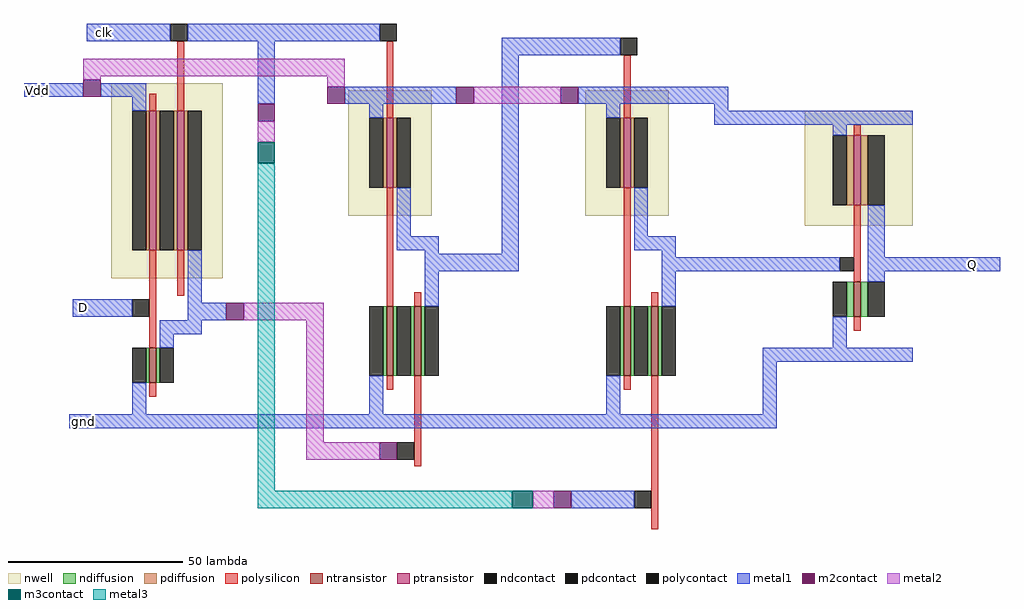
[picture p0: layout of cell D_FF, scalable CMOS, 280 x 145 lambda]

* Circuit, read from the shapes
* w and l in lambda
.subckt D_FF D Q Vdd clk gnd
M1 n1 D gnd VSUBS nfet w=10 l=2
M2 n2 clk gnd VSUBS nfet w=20 l=2
M3 n3 n1 n2 VSUBS nfet w=20 l=2
M4 n4 n3 gnd VSUBS nfet w=20 l=2
M5 n5 clk n4 VSUBS nfet w=20 l=2
M6 Q n5 gnd VSUBS nfet w=10 l=2
M7 n6 D Vdd n7 pfet w=40 l=2
M8 n1 clk n6 n7 pfet w=40 l=2
M9 n3 clk Vdd n8 pfet w=20 l=2
M10 n5 n3 Vdd n9 pfet w=20 l=2
M11 Q n5 Vdd n10 pfet w=20 l=2
.ends

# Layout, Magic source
magic
tech scmos
<< nwell >>
rect -7 -40 25 16
rect 61 -22 85 14
rect 129 -22 153 14
<< ntransistor >>
rect 4 -70 6 -60
rect 72 -68 74 -48
rect 80 -68 82 -48
rect 140 -68 142 -48
rect 148 -68 150 -48
<< ptransistor >>
rect 4 -32 6 8
rect 12 -32 14 8
rect 72 -14 74 6
rect 140 -14 142 6
<< ndiffusion >>
rect 3 -70 4 -60
rect 6 -70 7 -60
rect 71 -68 72 -48
rect 74 -68 75 -48
rect 79 -68 80 -48
rect 82 -68 83 -48
rect 139 -68 140 -48
rect 142 -68 143 -48
rect 147 -68 148 -48
rect 150 -68 151 -48
<< pdiffusion >>
rect 3 -32 4 8
rect 6 -32 7 8
rect 11 -32 12 8
rect 14 -32 15 8
rect 71 -14 72 6
rect 74 -14 75 6
rect 139 -14 140 6
rect 142 -14 143 6
<< ndcontact >>
rect -1 -70 3 -60
rect 7 -70 11 -60
rect 67 -68 71 -48
rect 75 -68 79 -48
rect 83 -68 87 -48
rect 135 -68 139 -48
rect 143 -68 147 -48
rect 151 -68 155 -48
<< pdcontact >>
rect -1 -32 3 8
rect 7 -32 11 8
rect 15 -32 19 8
rect 67 -14 71 6
rect 75 -14 79 6
rect 135 -14 139 6
rect 143 -14 147 6
<< polysilicon >>
rect 4 8 6 13
rect 12 8 14 28
rect 72 6 74 28
rect 140 6 142 24
rect 4 -60 6 -32
rect 12 -45 14 -32
rect 72 -48 74 -14
rect 80 -48 82 -44
rect 140 -48 142 -14
rect 148 -48 150 -44
rect 4 -74 6 -70
rect 72 -72 74 -68
rect 80 -94 82 -68
rect 140 -72 142 -68
rect 148 -112 150 -68
<< polycontact >>
rect 10 28 15 33
rect 70 28 75 33
rect 139 24 144 29
rect -1 -51 4 -46
rect 75 -92 80 -87
rect 143 -106 148 -101
<< metal1 >>
rect -14 28 10 33
rect 15 28 70 33
rect -32 12 -15 16
rect -10 12 3 16
rect -1 8 3 12
rect 35 10 40 28
rect 105 24 139 29
rect 60 10 92 15
rect 67 6 71 10
rect 75 -28 79 -14
rect 75 -32 87 -28
rect -18 -51 -1 -46
rect 15 -47 19 -32
rect 83 -33 87 -32
rect 105 -33 110 24
rect 127 10 170 15
rect 135 6 139 10
rect 166 8 170 10
rect 166 4 192 8
rect 143 -28 147 -14
rect 143 -32 155 -28
rect 83 -38 110 -33
rect 151 -34 155 -32
rect 151 -38 192 -34
rect 232 -38 248 -34
rect 15 -52 26 -47
rect 83 -48 87 -38
rect 151 -48 155 -38
rect 7 -56 19 -52
rect 7 -60 11 -56
rect 180 -64 192 -60
rect -1 -79 3 -70
rect 67 -79 71 -68
rect 135 -79 139 -68
rect 180 -79 184 -64
rect -19 -83 184 -79
rect 125 -106 143 -101
<< m2contact >>
rect -15 12 -10 17
rect 55 10 60 15
rect 92 10 97 15
rect 35 5 40 10
rect 122 10 127 15
rect 26 -52 31 -47
rect 70 -92 75 -87
rect 120 -106 125 -101
<< metal2 >>
rect -15 18 60 23
rect -15 17 -10 18
rect 55 15 60 18
rect 97 10 122 15
rect 35 -1 40 5
rect 31 -52 54 -47
rect 49 -87 54 -52
rect 49 -92 70 -87
rect 114 -106 120 -101
<< m3contact >>
rect 35 -7 40 -1
rect 108 -106 114 -101
<< metal3 >>
rect 35 -101 40 -7
rect 35 -106 108 -101
use inverter1  inverter1_0
transform 1 0 211 0 1 -103
box -23 35 21 111
<< labels >>
rlabel metal1 232 -38 248 -34 1 Q
rlabel metal1 -18 -51 -12 -46 3 D
rlabel metal1 -14 28 -4 33 5 clk
rlabel metal1 -32 12 -24 16 3 Vdd
rlabel metal1 -19 -83 -11 -79 1 gnd
<< end >>

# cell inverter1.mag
magic
tech scmos
<< nwell >>
rect -19 78 12 111
<< ntransistor >>
rect -5 52 -3 62
<< ptransistor >>
rect -5 84 -3 104
<< ndiffusion >>
rect -7 52 -5 62
rect -3 52 -1 62
<< pdiffusion >>
rect -7 84 -5 104
rect -3 84 -1 104
<< ndcontact >>
rect -11 52 -7 62
rect -1 52 4 62
<< pdcontact >>
rect -11 84 -7 104
rect -1 84 4 104
<< polysilicon >>
rect -5 104 -3 107
rect -5 62 -3 84
rect -5 48 -3 52
<< polycontact >>
rect -9 65 -5 69
<< metal1 >>
rect -19 107 12 111
rect -11 104 -7 107
rect -1 69 4 84
rect -23 65 -9 69
rect -1 65 21 69
rect -1 62 4 65
rect -11 43 -7 52
rect -19 39 12 43
<< end >>
